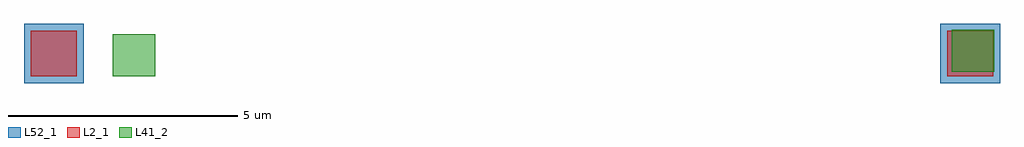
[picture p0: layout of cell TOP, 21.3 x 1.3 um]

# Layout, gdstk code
import gdstk
lib = gdstk.Library(unit=1e-6, precision=1e-09)
def R(c, l, rs):  # rectangles x0, y0, x1, y1
    for r in rs: c.add(gdstk.rectangle(r[:2], r[2:], *l))
L2_1 = (2, 1)
L41_2 = (41, 2)
L52_1 = (52, 1)

top = lib.new_cell('TOP')
R(top, L2_1, [(0,0,1,1), (20,0,21,1)])
R(top, L41_2, [(1.79,0,2.71,0.92), (20.1,0.1,21.02,1.02)])
R(top, L52_1, [(-0.15,-0.15,1.15,1.15), (19.85,-0.15,21.15,1.15)])

lib.write_gds('TOP.gds')
